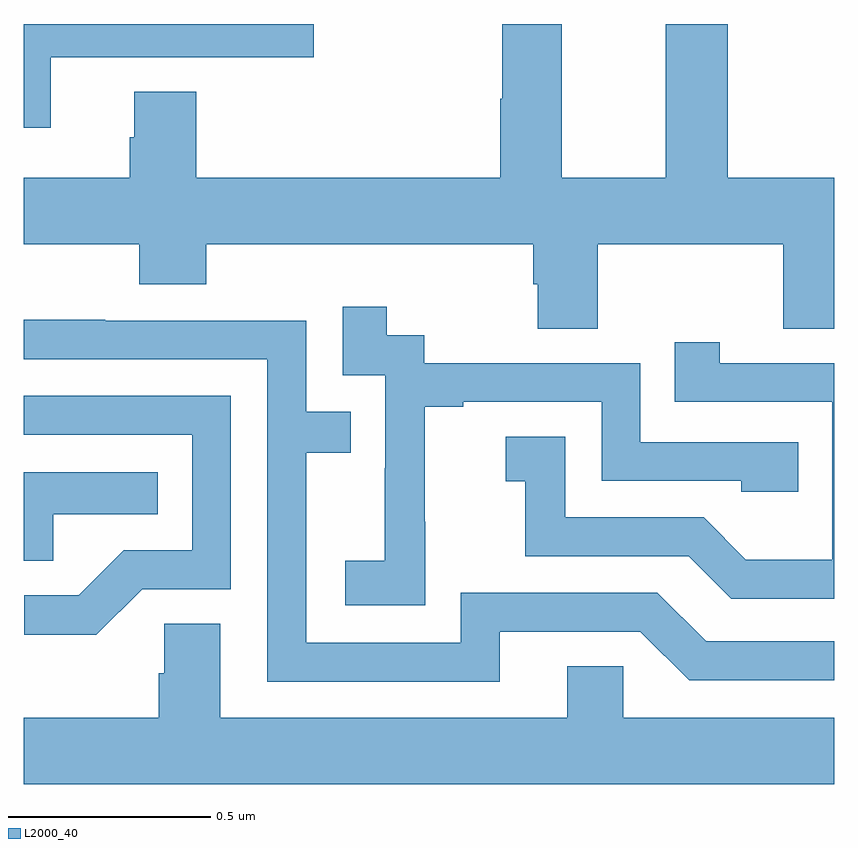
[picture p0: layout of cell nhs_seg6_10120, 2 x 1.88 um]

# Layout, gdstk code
import gdstk
lib = gdstk.Library(unit=1e-6, precision=1e-09)
def P(c, l, *ps):  # polygons
    for p in ps: c.add(gdstk.Polygon(p, *l))
L2000_40 = (2000, 40)

nhs_seg6_10120 = lib.new_cell('nhs_seg6_10120')
P(nhs_seg6_10120, L2000_40, [(242.066,994.418),(242.716,994.418),(242.716,994.5),(242,994.5),(242,994.244),(242.066,994.244)],
  [(243.181,994.316),(243.176,994.316),(243.176,994.12),(242.426,994.12),(242.426,994.333),(242.273,994.333),(242.273,994.221),(242.261,994.221),(242.261,994.12),(242,994.12),(242,993.956),(242.285,993.956),(242.285,993.857),(242.45,993.857),(242.45,993.956),(243.257,993.956),(243.257,993.858),(243.269,993.858),(243.269,993.748),(243.417,993.748),(243.417,993.956),(243.874,993.956),(243.874,993.748),(244,993.748),(244,994.12),(243.737,994.12),(243.737,994.5),(243.584,994.5),(243.584,994.12),(243.328,994.12),(243.328,994.5),(243.181,994.5)],
  [(242.991,993.271),(242.99,993.271),(242.99,993.555),(243.085,993.555),(243.085,993.567),(243.426,993.567),(243.426,993.372),(243.771,993.372),(243.771,993.345),(243.911,993.345),(243.911,993.468),(243.522,993.468),(243.522,993.663),(242.988,993.663),(242.988,993.732),(242.896,993.732),(242.896,993.802),(242.787,993.802),(242.787,993.633),(242.892,993.633),(242.892,993.404),(242.891,993.404),(242.891,993.175),(242.793,993.175),(242.793,993.065),(242.991,993.065)],
  [(243.175,993),(243.522,993),(243.642,992.88),(244,992.88),(244,992.976),(243.684,992.976),(243.564,993.096),(243.078,993.096),(243.078,992.973),(242.697,992.973),(242.697,993.442),(242.807,993.442),(242.807,993.543),(242.697,993.543),(242.697,993.768),(242.201,993.768),(242.201,993.77),(242,993.77),(242,993.672),(242.601,993.672),(242.601,992.877),(243.175,992.877)],
  [(244,993.663),(243.718,993.663),(243.718,993.715),(243.607,993.715),(243.607,993.567),(243.996,993.567),(243.996,993.178),(243.782,993.178),(243.678,993.282),(243.336,993.282),(243.336,993.481),(243.189,993.481),(243.189,993.371),(243.238,993.371),(243.238,993.186),(243.641,993.186),(243.746,993.081),(244,993.081)],
  [(242.292,993.105),(242.511,993.105),(242.511,993.582),(242,993.582),(242,993.486),(242.415,993.486),(242.415,993.201),(242.246,993.201),(242.135,993.09),(242.001,993.09),(242.001,992.993),(242.179,992.993)],
  [(242.073,993.29),(242.33,993.29),(242.33,993.394),(242,993.394),(242,993.175),(242.073,993.175)],
  [(244,992.788),(243.48,992.788),(243.48,992.915),(243.341,992.915),(243.341,992.788),(242.485,992.788),(242.485,993.02),(242.346,993.02),(242.346,992.897),(242.333,992.897),(242.333,992.788),(242,992.788),(242,992.624),(244,992.624)])

lib.write_gds('nhs_seg6_10120.gds')
